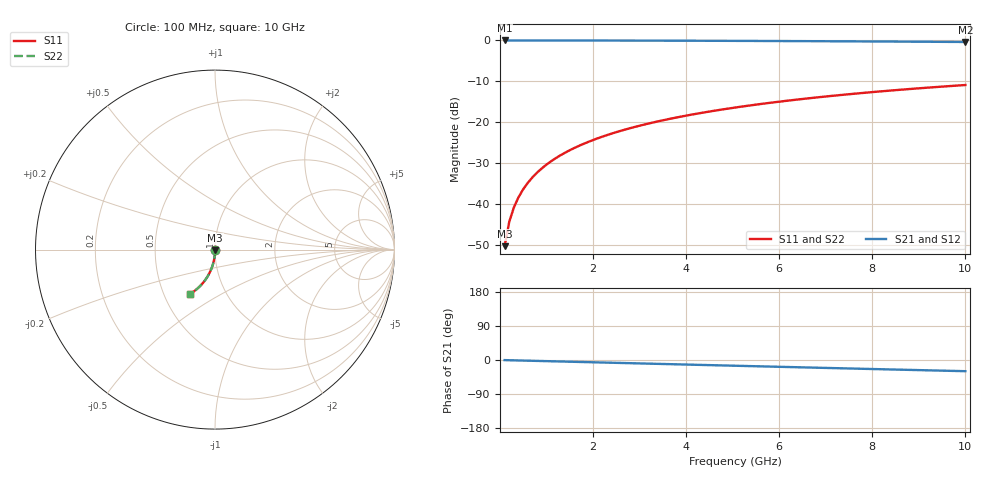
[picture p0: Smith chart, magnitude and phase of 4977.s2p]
# Hz S RI R 50.00
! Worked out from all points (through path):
!   100 points, 100 MHz to 10 GHz, reference 50 ohm
!   highest |S21| = 0.00 dB at 100 MHz (marker M1); lowest = -0.4 dB at 10 GHz (marker M2)
!   group delay of S21, straight-line fit = 8.22 ps
!   lowest |S11| = -50.3 dB at 100 MHz (marker M3), VSWR 1.01, Z = 50 - j0.304 ohm
!   |S11| at or under -10 dB: start of sweep to end of sweep
!   |S22| runs from -50.3 to -10.9 dB; largest |S21 - S12| = 0
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1e8  0.000325 -0.00304  0.9996 -0.00524  0.9996 -0.00524  0.000325 -0.00304
2e8  0.000276 -0.00607  0.9996 -0.0105  0.9996 -0.0105  0.000276 -0.00607
3e8  0.000194 -0.00911  0.9995 -0.0157  0.9995 -0.0157  0.000194 -0.00911
4e8  7.97e-05 -0.0121  0.9993 -0.021  0.9993 -0.021  7.97e-05 -0.0121
5e8  -6.64e-05 -0.0152  0.9992 -0.0262  0.9992 -0.0262  -6.64e-05 -0.0152
6e8  -0.000244 -0.0182  0.999 -0.0315  0.999 -0.0315  -0.000244 -0.0182
7e8  -0.000454 -0.0212  0.9987 -0.0367  0.9987 -0.0367  -0.000454 -0.0212
8e8  -0.000696 -0.0243  0.9984 -0.0419  0.9984 -0.0419  -0.000696 -0.0243
9e8  -0.00097 -0.0273  0.9981 -0.0472  0.9981 -0.0472  -0.00097 -0.0273
1.1e9  -0.00161 -0.0333  0.9974 -0.0576  0.9974 -0.0576  -0.00161 -0.0333
1.4e9  -0.00281 -0.0424  0.996 -0.0733  0.996 -0.0733  -0.00281 -0.0424
1.8e9  -0.00486 -0.0543  0.9936 -0.0941  0.9936 -0.0941  -0.00486 -0.0543
2.1e9  -0.00672 -0.0633  0.9915 -0.1097  0.9915 -0.1097  -0.00672 -0.0633
2.5e9  -0.00963 -0.075  0.9881 -0.1303  0.9881 -0.1303  -0.00963 -0.075
2.9e9  -0.013 -0.0867  0.9842 -0.1509  0.9842 -0.1509  -0.013 -0.0867
3.4e9  -0.018 -0.101  0.9785 -0.1763  0.9785 -0.1763  -0.018 -0.101
4.2e9  -0.0274 -0.1233  0.9675 -0.2164  0.9675 -0.2164  -0.0274 -0.1233
5.1e9  -0.04 -0.1472  0.9528 -0.2604  0.9528 -0.2604  -0.04 -0.1472
5.9e9  -0.0531 -0.1673  0.9375 -0.2984  0.9375 -0.2984  -0.0531 -0.1673
6.7e9  -0.0676 -0.1861  0.9204 -0.3352  0.9204 -0.3352  -0.0676 -0.1861
8.4e9  -0.103 -0.2214  0.8785 -0.4089  0.8785 -0.4089  -0.103 -0.2214
1e10  -0.1405 -0.2481  0.8333 -0.472  0.8333 -0.472  -0.1405 -0.2481
